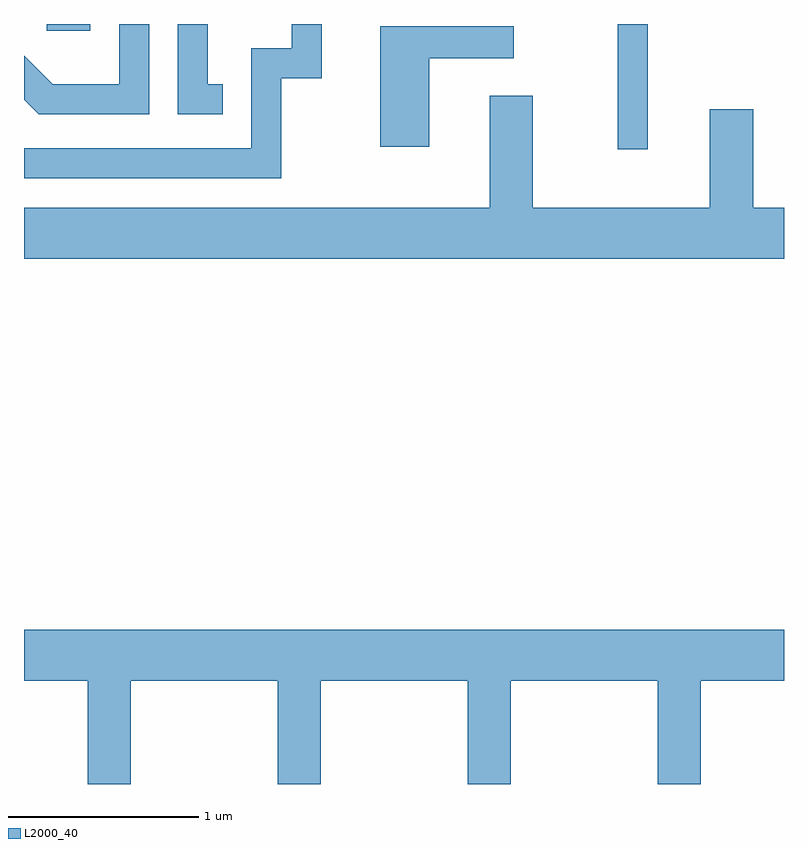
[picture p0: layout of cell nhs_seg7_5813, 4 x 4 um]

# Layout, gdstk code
import gdstk
lib = gdstk.Library(unit=1e-6, precision=1e-09)
def R(c, l, rs):  # rectangles x0, y0, x1, y1
    for r in rs: c.add(gdstk.rectangle(r[:2], r[2:], *l))
def P(c, l, *ps):  # polygons
    for p in ps: c.add(gdstk.Polygon(p, *l))
L2000_40 = (2000, 40)

nhs_seg7_5813 = lib.new_cell('nhs_seg7_5813')
R(nhs_seg7_5813, L2000_40, [(366.736,1681.593,366.894,1682.252), (363.731,1682.216,363.959,1682.252)])
P(nhs_seg7_5813, L2000_40, [(364.658,1681.934),(364.579,1681.934),(364.579,1682.252),(364.421,1682.252),(364.421,1681.776),(364.658,1681.776)],
  [(364.269,1682.252),(364.111,1682.252),(364.111,1681.934),(363.762,1681.934),(363.611,1682.085),(363.611,1681.854),(363.689,1681.776),(364.269,1681.776)],
  [(364.964,1681.966),(365.179,1681.966),(365.179,1682.252),(365.021,1682.252),(365.021,1682.124),(364.806,1682.124),(364.806,1681.599),(363.611,1681.599),(363.611,1681.441),(364.964,1681.441)],
  [(365.744,1682.071),(366.188,1682.071),(366.188,1682.239),(365.486,1682.239),(365.486,1681.606),(365.744,1681.606)],
  [(367.611,1681.284),(367.449,1681.284),(367.449,1681.804),(367.221,1681.804),(367.221,1681.284),(366.289,1681.284),(366.289,1681.874),(366.061,1681.874),(366.061,1681.284),(363.611,1681.284),(363.611,1681.016),(367.611,1681.016)],
  [(364.174,1678.796),(364.946,1678.796),(364.946,1678.252),(365.174,1678.252),(365.174,1678.796),(365.946,1678.796),(365.946,1678.252),(366.174,1678.252),(366.174,1678.796),(366.946,1678.796),(366.946,1678.252),(367.174,1678.252),(367.174,1678.796),(367.611,1678.796),(367.611,1679.064),(363.611,1679.064),(363.611,1678.796),(363.946,1678.796),(363.946,1678.252),(364.174,1678.252)])

lib.write_gds('nhs_seg7_5813.gds')
